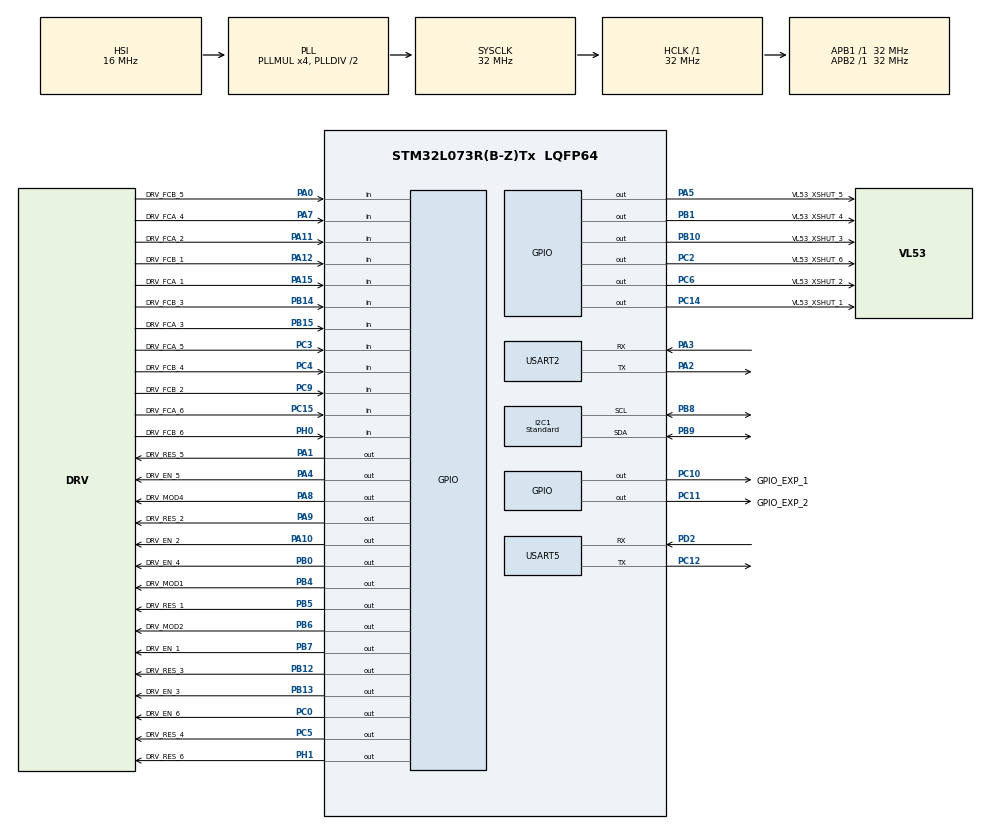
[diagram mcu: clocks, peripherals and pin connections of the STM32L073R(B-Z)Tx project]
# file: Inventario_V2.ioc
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I2C1.I2C_Fall_Time=0
I2C1.I2C_Rise_Time=0
I2C1.I2C_Speed_Mode=I2C_Standard
I2C1.Timing=0x00707CBB
Mcu.Family=STM32L0
Mcu.Name=STM32L073R(B-Z)Tx
Mcu.Package=LQFP64
NVIC.USART4_5_IRQn=true\:0\:0\:false\:false\:true\:true\:true
PA0.GPIO_Label=DRV_FCB_5
PA0.Signal=GPIO_Input
PA1.GPIO_Label=DRV_RES_5
PA1.GPIO_Speed=GPIO_SPEED_FREQ_MEDIUM
PA1.PinState=GPIO_PIN_SET
PA1.Signal=GPIO_Output
PA10.GPIO_Label=DRV_EN_2
PA10.GPIO_Speed=GPIO_SPEED_FREQ_MEDIUM
PA10.PinState=GPIO_PIN_SET
PA10.Signal=GPIO_Output
PA11.GPIO_Label=DRV_FCA_2
PA11.Signal=GPIO_Input
PA12.GPIO_Label=DRV_FCB_1
PA12.Signal=GPIO_Input
PA13.Mode=Serial_Wire
PA13.Signal=SYS_SWDIO
PA14.Mode=Serial_Wire
PA14.Signal=SYS_SWCLK
PA15.GPIO_Label=DRV_FCA_1
PA15.Signal=GPIO_Input
PA2.Mode=Asynchronous
PA2.Signal=USART2_TX
PA3.Mode=Asynchronous
PA3.Signal=USART2_RX
PA4.GPIO_Label=DRV_EN_5
PA4.GPIO_Speed=GPIO_SPEED_FREQ_MEDIUM
PA4.PinState=GPIO_PIN_SET
PA4.Signal=GPIO_Output
PA5.GPIO_Label=VL53_XSHUT_5
PA5.PinState=GPIO_PIN_RESET
PA5.Signal=GPIO_Output
PA7.GPIO_Label=DRV_FCA_4
PA7.Signal=GPIO_Input
PA8.GPIO_Label=DRV_MOD4
PA8.GPIO_Speed=GPIO_SPEED_FREQ_MEDIUM
PA8.Signal=GPIO_Output
PA9.GPIO_Label=DRV_RES_2
PA9.GPIO_Speed=GPIO_SPEED_FREQ_MEDIUM
PA9.PinState=GPIO_PIN_SET
PA9.Signal=GPIO_Output
PB0.GPIO_Label=DRV_EN_4
PB0.GPIO_Speed=GPIO_SPEED_FREQ_MEDIUM
PB0.PinState=GPIO_PIN_SET
PB0.Signal=GPIO_Output
PB1.GPIO_Label=VL53_XSHUT_4
PB1.PinState=GPIO_PIN_RESET
PB1.Signal=GPIO_Output
PB10.GPIO_Label=VL53_XSHUT_3
PB10.PinState=GPIO_PIN_RESET
PB10.Signal=GPIO_Output
PB12.GPIO_Label=DRV_RES_3
PB12.GPIO_Speed=GPIO_SPEED_FREQ_MEDIUM
PB12.PinState=GPIO_PIN_SET
PB12.Signal=GPIO_Output
PB13.GPIO_Label=DRV_EN_3
PB13.GPIO_Speed=GPIO_SPEED_FREQ_MEDIUM
PB13.PinState=GPIO_PIN_SET
PB13.Signal=GPIO_Output
PB14.GPIO_Label=DRV_FCB_3
PB14.Signal=GPIO_Input
PB15.GPIO_Label=DRV_FCA_3
PB15.Signal=GPIO_Input
PB4.GPIO_Label=DRV_MOD1
PB4.GPIO_Speed=GPIO_SPEED_FREQ_MEDIUM
PB4.Signal=GPIO_Output
PB5.GPIO_Label=DRV_RES_1
PB5.GPIO_Speed=GPIO_SPEED_FREQ_MEDIUM
PB5.PinState=GPIO_PIN_SET
PB5.Signal=GPIO_Output
PB6.GPIO_Label=DRV_MOD2
PB6.GPIO_Speed=GPIO_SPEED_FREQ_MEDIUM
PB6.Signal=GPIO_Output
PB7.GPIO_Label=DRV_EN_1
PB7.GPIO_Speed=GPIO_SPEED_FREQ_MEDIUM
PB7.PinState=GPIO_PIN_SET
PB7.Signal=GPIO_Output
PB8.Mode=I2C
PB8.Signal=I2C1_SCL
PB9.Mode=I2C
PB9.Signal=I2C1_SDA
PC0.GPIO_Label=DRV_EN_6
PC0.GPIO_Speed=GPIO_SPEED_FREQ_MEDIUM
PC0.PinState=GPIO_PIN_SET
PC0.Signal=GPIO_Output
PC10.GPIO_Label=GPIO_EXP_1
PC10.Signal=GPIO_Output
PC11.GPIO_Label=GPIO_EXP_2
PC11.Signal=GPIO_Output
PC12.Mode=Asynchronous
PC12.Signal=USART5_TX
PC14-OSC32_IN.GPIO_Label=VL53_XSHUT_1
PC14-OSC32_IN.PinState=GPIO_PIN_RESET
PC14-OSC32_IN.Signal=GPIO_Output
PC15-OSC32_OUT.GPIO_Label=DRV_FCA_6
PC15-OSC32_OUT.Signal=GPIO_Input
PC2.GPIO_Label=VL53_XSHUT_6
PC2.PinState=GPIO_PIN_RESET
PC2.Signal=GPIO_Output
PC3.GPIO_Label=DRV_FCA_5
PC3.Signal=GPIO_Input
PC4.GPIO_Label=DRV_FCB_4
PC4.Signal=GPIO_Input
PC5.GPIO_Label=DRV_RES_4
PC5.GPIO_Speed=GPIO_SPEED_FREQ_MEDIUM
PC5.PinState=GPIO_PIN_SET
PC5.Signal=GPIO_Output
PC6.GPIO_Label=VL53_XSHUT_2
PC6.PinState=GPIO_PIN_SET
PC6.Signal=GPIO_Output
PC9.GPIO_Label=DRV_FCB_2
PC9.Signal=GPIO_Input
PD2.Mode=Asynchronous
PD2.Signal=USART5_RX
PH0-OSC_IN.GPIO_Label=DRV_FCB_6
PH0-OSC_IN.Signal=GPIO_Input
PH1-OSC_OUT.GPIO_Label=DRV_RES_6
PH1-OSC_OUT.GPIO_Speed=GPIO_SPEED_FREQ_MEDIUM
PH1-OSC_OUT.PinState=GPIO_PIN_SET
PH1-OSC_OUT.Signal=GPIO_Output
ProjectManager.HeapSize=0x200
ProjectManager.StackSize=0x400
ProjectManager.TargetToolchain=STM32CubeIDE
RCC.AHBFreq_Value=32000000
RCC.APB1Freq_Value=32000000
RCC.APB1TimFreq_Value=32000000
RCC.APB2Freq_Value=32000000
RCC.APB2TimFreq_Value=32000000
RCC.HCLKFreq_Value=32000000
RCC.HSE_VALUE=8000000
RCC.HSI16_VALUE=16000000
RCC.HSI48_VALUE=48000000
RCC.HSI_VALUE=16000000
RCC.LSE_VALUE=32768
RCC.MSI_VALUE=2097000
RCC.PLLMUL=RCC_PLLMUL_4
RCC.SYSCLKFreq_VALUE=32000000
RCC.SYSCLKSource=RCC_SYSCLKSOURCE_PLLCLK
RCC.VCOOutputFreq_Value=64000000
USART2.VirtualMode-Asynchronous=VM_ASYNC
USART5.VirtualMode-Asynchronous=VM_ASYNC
board=custom

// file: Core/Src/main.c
/* USER CODE BEGIN Header */
/**
 ******************************************************************************
 * @file           : main.c
 * @brief          : Main program body
 ******************************************************************************
 * @attention
 *
 * <h2><center>&copy; Copyright (c) 2020 STMicroelectronics.
 * All rights reserved.</center></h2>
 *
 * This software component is licensed by ST under BSD 3-Clause license,
 * the "License"; You may not use this file except in compliance with the
 * License. You may obtain a copy of the License at:
 *                        opensource.org/licenses/BSD-3-Clause
 *
 ******************************************************************************
 */
/* USER CODE END Header */
#include "main.h"
#include "i2c.h"
#include "usart.h"
#include "gpio.h"

/* USER CODE BEGIN Includes */
#include "distancia.h"
#include "com_ceit.h"
#include "captura.h"
/* USER CODE END Includes */

/* USER CODE BEGIN PTD */
stDistancia stdistancia;
stComCEIT stcomceit;
stCaptura stcaptura;
stMotor stmotor;
/* USER CODE END PTD */

/* USER CODE BEGIN PV */
static volatile uint16_t gLastError;
uint8_t Char_USART5, garb=1, Cont_USART5=0;
uint8_t Data_CALIB_OK[8] = {0x01,0x08,0x11,0x81,0x02,0x4F,0x4B,0xF9};
// España 5 parrillas
//uint8_t DataRX[RX_DATA_SIZE] ={0x5,0x1A,0x41,0x00,0x41,0x00,0x41,0x00,0x41,0x00,0xFF,0xFF,0xFF,0xFF,0xFF,0xFF,0xFF,0xFF,0xFF,0xFF,0xFF,0xFF,
//										0x41,0x00,0x41,0x00,0x41,0x00,0x41,0x00,0xFF,0xFF,0xFF,0xFF,0xFF,0xFF,0xFF,0xFF,0xFF,0xFF,0xFF,0xFF,
//										0x41,0x00,0x41,0x00,0x41,0x00,0x41,0x00,0xFF,0xFF,0xFF,0xFF,0xFF,0xFF,0xFF,0xFF,0xFF,0xFF,0xFF,0xFF,
//										0x41,0x00,0x41,0x00,0x41,0x00,0x41,0x00,0xFF,0xFF,0xFF,0xFF,0xFF,0xFF,0xFF,0xFF,0xFF,0xFF,0xFF,0xFF,
//										0x41,0x00,0x41,0x00,0x41,0x00,0x41,0x00,0xFF,0xFF,0xFF,0xFF,0xFF,0xFF,0xFF,0xFF,0xFF,0xFF,0xFF,0xFF,
//										0xFF,0xFF,0xFF,0xFF,0xFF,0xFF,0xFF,0xFF,0xFF,0xFF,0xFF,0xFF,0xFF,0xFF,0xFF,0xFF,0xFF,0xFF,0xFF,0xFF,
//										0xFF,0xFF,0xFF,0xFF,0xFF,0xFF,0xFF,0xFF,0xFF,0xFF,0xFF,0xFF,0xFF,0xFF,0xFF,0xFF,0xFF,0xFF,0xFF,0xFF,
//										0xFF,0xFF,0xFF,0xFF,0xFF,0xFF,0xFF,0xFF,0xFF,0xFF,0xFF,0xFF,0xFF,0xFF,0xFF,0xFF,0xFF,0xFF,0xFF,0xFF,
//										0xFF,0xFF,0xFF,0xFF,0xFF,0xFF,0xFF,0xFF,0xFF,0xFF,0xFF,0xFF,0xFF,0xFF,0xFF,0xFF,0xFF,0xFF,0xFF,0xFF,
//										0xFF,0xFF,0xFF,0xFF,0xFF,0xFF,0xFF,0xFF,0xFF,0xFF,0xFF,0xFF,0xFF,0xFF,0xFF,0xFF,0xFF,0xFF,0xFF,0xFF,0xFA};

// España 4 parrillas
//uint8_t DataRX[RX_DATA_SIZE] ={0x4,0x1A,0x41,0x00,0x41,0x00,0x41,0x00,0x41,0x00,0xFF,0xFF,0xFF,0xFF,0xFF,0xFF,0xFF,0xFF,0xFF,0xFF,0xFF,0xFF,
//										0x41,0x00,0x41,0x00,0x41,0x00,0x41,0x00,0xFF,0xFF,0xFF,0xFF,0xFF,0xFF,0xFF,0xFF,0xFF,0xFF,0xFF,0xFF,
//										0x41,0x00,0x41,0x00,0x41,0x00,0x41,0x00,0xFF,0xFF,0xFF,0xFF,0xFF,0xFF,0xFF,0xFF,0xFF,0xFF,0xFF,0xFF,
//										0x41,0x00,0x41,0x00,0x41,0x00,0x41,0x00,0xFF,0xFF,0xFF,0xFF,0xFF,0xFF,0xFF,0xFF,0xFF,0xFF,0xFF,0xFF,
//										0xFF,0xFF,0xFF,0xFF,0xFF,0xFF,0xFF,0xFF,0xFF,0xFF,0xFF,0xFF,0xFF,0xFF,0xFF,0xFF,0xFF,0xFF,0xFF,0xFF,
//										0xFF,0xFF,0xFF,0xFF,0xFF,0xFF,0xFF,0xFF,0xFF,0xFF,0xFF,0xFF,0xFF,0xFF,0xFF,0xFF,0xFF,0xFF,0xFF,0xFF,
//										0xFF,0xFF,0xFF,0xFF,0xFF,0xFF,0xFF,0xFF,0xFF,0xFF,0xFF,0xFF,0xFF,0xFF,0xFF,0xFF,0xFF,0xFF,0xFF,0xFF,
//										0xFF,0xFF,0xFF,0xFF,0xFF,0xFF,0xFF,0xFF,0xFF,0xFF,0xFF,0xFF,0xFF,0xFF,0xFF,0xFF,0xFF,0xFF,0xFF,0xFF,
//										0xFF,0xFF,0xFF,0xFF,0xFF,0xFF,0xFF,0xFF,0xFF,0xFF,0xFF,0xFF,0xFF,0xFF,0xFF,0xFF,0xFF,0xFF,0xFF,0xFF,
//										0xFF,0xFF,0xFF,0xFF,0xFF,0xFF,0xFF,0xFF,0xFF,0xFF,0xFF,0xFF,0xFF,0xFF,0xFF,0xFF,0xFF,0xFF,0xFF,0xFF,0xFA};

// Innref todo agua
//uint8_t DataRX[RX_DATA_SIZE] ={0x5,0x22,0x44,0x00,0x44,0x00,0x44,0x00,0x44,0x00,0x44,0x00,0x44,0x00,0x44,0x00,0xFF,0xFF,0xFF,0xFF,0xFF,0xFF,
//										0x44,0x00,0x44,0x00,0x44,0x00,0x44,0x00,0x44,0x00,0x44,0x00,0x44,0x00,0xFF,0xFF,0xFF,0xFF,0xFF,0xFF,
//										0x44,0x00,0x44,0x00,0x44,0x00,0x44,0x00,0x44,0x00,0x44,0x00,0x44,0x00,0xFF,0xFF,0xFF,0xFF,0xFF,0xFF,
//										0x44,0x00,0x44,0x00,0x44,0x00,0x44,0x00,0x44,0x00,0x44,0x00,0x44,0x00,0xFF,0xFF,0xFF,0xFF,0xFF,0xFF,
//										0x44,0x00,0x44,0x00,0x44,0x00,0x44,0x00,0x44,0x00,0x44,0x00,0x44,0x00,0xFF,0xFF,0xFF,0xFF,0xFF,0xFF,
//										0xFF,0xFF,0xFF,0xFF,0xFF,0xFF,0xFF,0xFF,0xFF,0xFF,0xFF,0xFF,0xFF,0xFF,0xFF,0xFF,0xFF,0xFF,0xFF,0xFF,
//										0xFF,0xFF,0xFF,0xFF,0xFF,0xFF,0xFF,0xFF,0xFF,0xFF,0xFF,0xFF,0xFF,0xFF,0xFF,0xFF,0xFF,0xFF,0xFF,0xFF,
//										0xFF,0xFF,0xFF,0xFF,0xFF,0xFF,0xFF,0xFF,0xFF,0xFF,0xFF,0xFF,0xFF,0xFF,0xFF,0xFF,0xFF,0xFF,0xFF,0xFF,
//										0xFF,0xFF,0xFF,0xFF,0xFF,0xFF,0xFF,0xFF,0xFF,0xFF,0xFF,0xFF,0xFF,0xFF,0xFF,0xFF,0xFF,0xFF,0xFF,0xFF,
//										0xFF,0xFF,0xFF,0xFF,0xFF,0xFF,0xFF,0xFF,0xFF,0xFF,0xFF,0xFF,0xFF,0xFF,0xFF,0xFF,0xFF,0xFF,0xFF,0xFF,0xFA};

// Innref todo coca
//uint8_t DataRX[RX_DATA_SIZE] ={0x5,0x22,0x3D,0x00,0x3D,0x00,0x3D,0x00,0x3D,0x00,0x3D,0x00,0x3D,0x00,0x3D,0x00,0x3D,0x00,0xFF,0xFF,0xFF,0xFF,
//										0x3D,0x00,0x3D,0x00,0x3D,0x00,0x3D,0x00,0x3D,0x00,0x3D,0x00,0x3D,0x00,0x3D,0x00,0xFF,0xFF,0xFF,0xFF,
//										0x3D,0x00,0x3D,0x00,0x3D,0x00,0x3D,0x00,0x3D,0x00,0x3D,0x00,0x3D,0x00,0x3D,0x00,0xFF,0xFF,0xFF,0xFF,
//										0x3D,0x00,0x3D,0x00,0x3D,0x00,0x3D,0x00,0x3D,0x00,0x3D,0x00,0x3D,0x00,0x3D,0x00,0xFF,0xFF,0xFF,0xFF,
//										0x3D,0x00,0x3D,0x00,0x3D,0x00,0x3D,0x00,0x3D,0x00,0x3D,0x00,0x3D,0x00,0x3D,0x00,0xFF,0xFF,0xFF,0xFF,
//										0xFF,0xFF,0xFF,0xFF,0xFF,0xFF,0xFF,0xFF,0xFF,0xFF,0xFF,0xFF,0xFF,0xFF,0xFF,0xFF,0xFF,0xFF,0xFF,0xFF,
//										0xFF,0xFF,0xFF,0xFF,0xFF,0xFF,0xFF,0xFF,0xFF,0xFF,0xFF,0xFF,0xFF,0xFF,0xFF,0xFF,0xFF,0xFF,0xFF,0xFF,
//										0xFF,0xFF,0xFF,0xFF,0xFF,0xFF,0xFF,0xFF,0xFF,0xFF,0xFF,0xFF,0xFF,0xFF,0xFF,0xFF,0xFF,0xFF,0xFF,0xFF,
//										0xFF,0xFF,0xFF,0xFF,0xFF,0xFF,0xFF,0xFF,0xFF,0xFF,0xFF,0xFF,0xFF,0xFF,0xFF,0xFF,0xFF,0xFF,0xFF,0xFF,
//										0xFF,0xFF,0xFF,0xFF,0xFF,0xFF,0xFF,0xFF,0xFF,0xFF,0xFF,0xFF,0xFF,0xFF,0xFF,0xFF,0xFF,0xFF,0xFF,0xFF,0xFA};

uint8_t DataRX[RX_DATA_SIZE] ={0x5,0x22,0x3D,0x00,0x3D,0x00,0x3D,0x00,0x3D,0x00,0x3D,0x00,0x3D,0x00,0x3D,0x00,0x3D,0x00,0xFF,0xFF,0xFF,0xFF,
										0x3D,0x00,0x3D,0x00,0x3D,0x00,0x3D,0x00,0x3D,0x00,0x3D,0x00,0x3D,0x00,0x3D,0x00,0xFF,0xFF,0xFF,0xFF,
										0x3D,0x00,0x3D,0x00,0x3D,0x00,0x3D,0x00,0x3D,0x00,0x3D,0x00,0x3D,0x00,0x3D,0x00,0xFF,0xFF,0xFF,0xFF,
										0x35,0x00,0x35,0x00,0x35,0x00,0x35,0x00,0x35,0x00,0x35,0x00,0x35,0x00,0x35,0x00,0x35,0x00,0xFF,0xFF,
										0x44,0x00,0x44,0x00,0x44,0x00,0x44,0x00,0x44,0x00,0x44,0x00,0x44,0x00,0xFF,0xFF,0xFF,0xFF,0xFF,0xFF,
										0xFF,0xFF,0xFF,0xFF,0xFF,0xFF,0xFF,0xFF,0xFF,0xFF,0xFF,0xFF,0xFF,0xFF,0xFF,0xFF,0xFF,0xFF,0xFF,0xFF,
										0xFF,0xFF,0xFF,0xFF,0xFF,0xFF,0xFF,0xFF,0xFF,0xFF,0xFF,0xFF,0xFF,0xFF,0xFF,0xFF,0xFF,0xFF,0xFF,0xFF,
										0xFF,0xFF,0xFF,0xFF,0xFF,0xFF,0xFF,0xFF,0xFF,0xFF,0xFF,0xFF,0xFF,0xFF,0xFF,0xFF,0xFF,0xFF,0xFF,0xFF,
										0xFF,0xFF,0xFF,0xFF,0xFF,0xFF,0xFF,0xFF,0xFF,0xFF,0xFF,0xFF,0xFF,0xFF,0xFF,0xFF,0xFF,0xFF,0xFF,0xFF,
										0xFF,0xFF,0xFF,0xFF,0xFF,0xFF,0xFF,0xFF,0xFF,0xFF,0xFF,0xFF,0xFF,0xFF,0xFF,0xFF,0xFF,0xFF,0xFF,0xFF,0xFA};

/* USER CODE END PV */

void SystemClock_Config(void);
/* USER CODE BEGIN PFP */
static void MyFlagInterruptHandler(void);
void ButtonHandler(void);

/* USER CODE END PFP */

/* USER CODE BEGIN 0 */
//----------Interrupt USART----------------------------------
void HAL_UART_RxCpltCallback(UART_HandleTypeDef *huart) {
//USART CEIT-------------------
	if (huart->Instance == USART5) {
		HAL_UART_Receive_IT(&huart5, &Char_USART5, 1);
		if(garb){
			if(Char_USART5 == 1){
				garb = 0;
				stcomceit.Rx_Buffer[0] = Char_USART5;
				Cont_USART5++;
			}
		}else{
			if (Char_USART5 != 250) {
				if (Cont_USART5 < 5){
					stcomceit.Rx_Buffer[Cont_USART5] = Char_USART5;
					Cont_USART5++;
				}else if (stcomceit.Rx_Buffer[CMD] == GET_DATA) {
					stcomceit.Rx_Buffer[Cont_USART5] = Char_USART5;
					HAL_UART_Transmit(&huart2, stcomceit.Rx_Buffer, sizeof(stcomceit.Rx_Buffer), 1000);
					Cont_USART5 = 0;
					stcomceit.xRxDoneFlag = true;
					garb = 1;
				}else if (stcomceit.Rx_Buffer[CMD] == CONFIG){
					stcomceit.Rx_Data[Cont_USART5-5] = Char_USART5;
					Cont_USART5++;
				}
			}
			else if (Char_USART5 == 250) {
				stcomceit.Rx_Data[Cont_USART5-5] = Char_USART5;
				Cont_USART5 = 0;
				stcomceit.xRxDoneFlag = true;
				garb = 1;
				HAL_UART_Transmit(&huart2, stcomceit.Rx_Buffer, sizeof(stcomceit.Rx_Buffer), 1000);
				HAL_UART_Transmit(&huart2, stcomceit.Rx_Data, sizeof(stcomceit.Rx_Data), 1000);
			}
		}
	}

}

/* USER CODE END 0 */

int main(void)
{
  /* USER CODE BEGIN 1 */
	uint8_t sensorOK, respuesta, data=0,i,j;
  /* USER CODE END 1 */

  /* MCU Configuration--------------------------------------------------------*/

  /* Reset of all peripherals, Initializes the Flash interface and the Systick. */
  HAL_Init();

  /* Configure the system clock */
  SystemClock_Config();

  /* Initialize all configured peripherals */
  MX_GPIO_Init();
  MX_I2C1_Init();
  MX_USART2_UART_Init();
  MX_USART5_UART_Init();
  /* USER CODE BEGIN 2 */
  HAL_UART_Receive_IT(&huart5, &Char_USART5, 1);
  Iniciar_EstrucCaptura(&stcaptura);
  Iniciar_EstrucComCEIT(&stcomceit);
  Iniciar_EstrucDistancia(&stdistancia);
  Iniciar_EstrucMotor(&stmotor);
  for(i=0; i<RX_DATA_SIZE;i++)
  {
	  stcomceit.Rx_Data[i] = DataRX[i];
  }
  ConfigParrillas(&stcaptura, &stcomceit, &stmotor, &stdistancia);
  Ordenar(&stmotor,&stdistancia);
  IniciarSensores(&stdistancia);
  MyMotorInit();

//  calib_motor5();
  calib_motor();
  calib_motor2();
  calib_motor4();
  calib_motor5();
  calib_motor3();

//  calib_motor6();
  EnableMotors(7);
  HAL_UART_Transmit(&huart5, Data_CALIB_OK, 8 , 200);
  HAL_UART_Transmit(&huart2, Data_CALIB_OK, 8 , 200);

  /* USER CODE END 2 */

  /* Infinite loop */
  /* USER CODE BEGIN WHILE */
	while (1) {
//		sensorsTest();

	 /* Código máquinas de estado */
	  BloqueCOM_CEIT(&stcomceit);
	  BloqueCaptura(&stcaptura, &stcomceit, &stmotor, &stdistancia);
	  BloqueMotor();
	  /* Bloque distancia */
	  if(stdistancia.bandDistancia){
		  stdistancia.contParrilla = stdistancia.sensor[stdistancia.contDistancia];
//		  VL53L1_StartMeasurement( &stdistancia.VL53L1_DEV[stdistancia.contParrilla] );
		  sensorOK = BloqueDistancia(&stdistancia);
		  stdistancia.bandDistancia = false;
		  stdistancia.contDistancia++;
	  }
    /* USER CODE END WHILE */

	}
}

void SystemClock_Config(void)
{
  RCC_OscInitTypeDef RCC_OscInitStruct = {0};
  RCC_ClkInitTypeDef RCC_ClkInitStruct = {0};
  RCC_PeriphCLKInitTypeDef PeriphClkInit = {0};

  /** Configure the main internal regulator output voltage
  */
  __HAL_PWR_VOLTAGESCALING_CONFIG(PWR_REGULATOR_VOLTAGE_SCALE1);
  /** Initializes the RCC Oscillators according to the specified parameters
  * in the RCC_OscInitTypeDef structure.
  */
  RCC_OscInitStruct.OscillatorType = RCC_OSCILLATORTYPE_HSI;
  RCC_OscInitStruct.HSIState = RCC_HSI_ON;
  RCC_OscInitStruct.HSICalibrationValue = RCC_HSICALIBRATION_DEFAULT;
  RCC_OscInitStruct.PLL.PLLState = RCC_PLL_ON;
  RCC_OscInitStruct.PLL.PLLSource = RCC_PLLSOURCE_HSI;
  RCC_OscInitStruct.PLL.PLLMUL = RCC_PLLMUL_4;
  RCC_OscInitStruct.PLL.PLLDIV = RCC_PLLDIV_2;
  if (HAL_RCC_OscConfig(&RCC_OscInitStruct) != HAL_OK)
  {
    Error_Handler();
  }
  /** Initializes the CPU, AHB and APB buses clocks
  */
  RCC_ClkInitStruct.ClockType = RCC_CLOCKTYPE_HCLK|RCC_CLOCKTYPE_SYSCLK
                              |RCC_CLOCKTYPE_PCLK1|RCC_CLOCKTYPE_PCLK2;
  RCC_ClkInitStruct.SYSCLKSource = RCC_SYSCLKSOURCE_PLLCLK;
  RCC_ClkInitStruct.AHBCLKDivider = RCC_SYSCLK_DIV1;
  RCC_ClkInitStruct.APB1CLKDivider = RCC_HCLK_DIV1;
  RCC_ClkInitStruct.APB2CLKDivider = RCC_HCLK_DIV1;

  if (HAL_RCC_ClockConfig(&RCC_ClkInitStruct, FLASH_LATENCY_1) != HAL_OK)
  {
    Error_Handler();
  }
  PeriphClkInit.PeriphClockSelection = RCC_PERIPHCLK_USART2|RCC_PERIPHCLK_I2C1;
  PeriphClkInit.Usart2ClockSelection = RCC_USART2CLKSOURCE_PCLK1;
  PeriphClkInit.I2c1ClockSelection = RCC_I2C1CLKSOURCE_PCLK1;
  if (HAL_RCCEx_PeriphCLKConfig(&PeriphClkInit) != HAL_OK)
  {
    Error_Handler();
  }
}

/* USER CODE BEGIN 4 */

void BloqueMotor(void) {
	uint8_t unidad, decena, centena, mil;
	uint8_t i,j,k,aux;

	/* Bloque motor */
	if(stmotor.bandMotor){
		if(stmotor.posMotor < stmotor.MaxPosMotor){
			/* Go next stop */
			BSP_MotorControl_GoTo(MOTOR_ID, stmotor.recorrido[stmotor.posMotor]);
			BSP_MotorControl_WaitWhileActive(MOTOR_ID);

			stmotor.posMotor++;
			stmotor.bandMotor = false;
		}else if(stmotor.posMotor <= stmotor.MaxPosMotor+2){
			stmotor.bandMotor = true;
			stmotor.posMotor++;
		} else {
			/* GO HOME */
			BSP_MotorControl_GoTo(MOTOR_ID, stmotor.recorrido[0]);
			BSP_MotorControl_WaitWhileActive(MOTOR_ID);
			/* Disable the power bridges */
			BSP_MotorControl_CmdDisable(MOTOR_ID);
			/* Turn off power bridges when motor is stopped */
			BSP_MotorControl_SetStopMode(MOTOR_ID, HIZ_MODE);
			stmotor.posMotor = stmotor.posInicial;
			stmotor.bandMotor = false;

//			HAL_UART_Transmit(&huart5, (uint8_t*)"\n", strlen("\n"), 20);
//			for(i=1; i<6; i++)
//			{
//				aux = i+48;
//				HAL_UART_Transmit(&huart5, (uint8_t*)"S", strlen("S"), 20);
//				HAL_UART_Transmit(&huart5, &aux, sizeof(aux), 20);
//				HAL_UART_Transmit(&huart5, (uint8_t*)";", strlen(";"), 20);
//				for(j=0; j<stdistancia.cantFilas[i-1]; j++)
//				{
//					  Convertir4Cif(stdistancia.datosDistancia[i-1][j], &mil, &centena, &decena, &unidad);
//					  HAL_UART_Transmit(&huart5, &mil, sizeof(centena), 50);
//					  HAL_UART_Transmit(&huart5, &centena, sizeof(centena), 50);
//					  HAL_UART_Transmit(&huart5, &decena, sizeof(decena), 50);
//					  HAL_UART_Transmit(&huart5, &unidad, sizeof(unidad), 50);
//					  HAL_UART_Transmit(&huart5, (uint8_t*)";", strlen(";"), 20);
//				}
//				HAL_UART_Transmit(&huart5, (uint8_t*)"\n", strlen("\n"), 20);
//			}

//			for(i=1; i<6; i++){
//				HAL_UART_Transmit(&huart2, (uint8_t*)"S", strlen("S"), 20);
//				HAL_UART_Transmit(&huart2, &i, sizeof(i), 50);
//				HAL_UART_Transmit(&huart2, (uint8_t*)"X", strlen("S"), 20);
//				HAL_UART_Transmit(&huart2, (uint8_t*)";", strlen(";"), 20);
//				for(j=0; j<stdistancia.cantFilas[i-1]; j++){
//					  Convertir4Cif(stdistancia.datosDistancia[i-1][j], &mil, &centena, &decena, &unidad);
//					  HAL_UART_Transmit(&huart2, &mil, sizeof(centena), 50);
//					  HAL_UART_Transmit(&huart2, &centena, sizeof(centena), 50);
//					  HAL_UART_Transmit(&huart2, &decena, sizeof(decena), 50);
//					  HAL_UART_Transmit(&huart2, &unidad, sizeof(unidad), 50);
//					  HAL_UART_Transmit(&huart2, (uint8_t*)";", strlen(";"), 20);
//				}
//				HAL_UART_Transmit(&huart2, (uint8_t*)"\n", strlen("\n"), 20);
//			}

			for(k=0; k<5; k++)
			{
				HAL_UART_Transmit(&huart5, (uint8_t*)"\n", strlen("\n"), 20);
				for(i=1; i<6; i++)
				{
					aux = i+48;
					HAL_UART_Transmit(&huart5, (uint8_t*)"S", strlen("S"), 20);
					HAL_UART_Transmit(&huart5, &aux, sizeof(aux), 20);
					HAL_UART_Transmit(&huart5, (uint8_t*)";", strlen(";"), 20);
					for(j=0; j<stdistancia.cantFilas[i-1]; j++)
					{
						  Convertir4Cif(stdistancia.datosDistancia2[i-1][j][k], &mil, &centena, &decena, &unidad);
						  HAL_UART_Transmit(&huart5, &mil, sizeof(centena), 50);
						  HAL_UART_Transmit(&huart5, &centena, sizeof(centena), 50);
						  HAL_UART_Transmit(&huart5, &decena, sizeof(decena), 50);
						  HAL_UART_Transmit(&huart5, &unidad, sizeof(unidad), 50);
						  HAL_UART_Transmit(&huart5, (uint8_t*)";", strlen(";"), 20);
					}
					HAL_UART_Transmit(&huart5, (uint8_t*)"\n", strlen("\n"), 20);
				}
			}

			for(k=0; k<5; k++)
			{
				HAL_UART_Transmit(&huart2, (uint8_t*)"\n", strlen("\n"), 20);
				for(i=1; i<6; i++)
				{
					aux = i+48;
					HAL_UART_Transmit(&huart2, (uint8_t*)"S", strlen("S"), 20);
					HAL_UART_Transmit(&huart2, &aux, sizeof(aux), 20);
					HAL_UART_Transmit(&huart2, (uint8_t*)";", strlen(";"), 20);
					for(j=0; j<stdistancia.cantFilas[i-1]; j++)
					{
						  Convertir4Cif(stdistancia.datosDistancia2[i-1][j][k], &mil, &centena, &decena, &unidad);
						  HAL_UART_Transmit(&huart2, &mil, sizeof(centena), 50);
						  HAL_UART_Transmit(&huart2, &centena, sizeof(centena), 50);
						  HAL_UART_Transmit(&huart2, &decena, sizeof(decena), 50);
						  HAL_UART_Transmit(&huart2, &unidad, sizeof(unidad), 50);
						  HAL_UART_Transmit(&huart2, (uint8_t*)";", strlen(";"), 20);
					}
					HAL_UART_Transmit(&huart2, (uint8_t*)"\n", strlen("\n"), 20);
				}
			}

	//				  calib_motor5();
			  calib_motor();
			  calib_motor2();
			  calib_motor4();
			  calib_motor5();
			  calib_motor3();
			//  calib_motor6();
			  EnableMotors(7);
			  HAL_UART_Transmit(&huart5, Data_CALIB_OK, 8 , 200);
			  HAL_UART_Transmit(&huart2, Data_CALIB_OK, 8 , 200);
		}
	}
}

void MyMotorInit(void) {

	uint32_t myFreqPwm;
//----- Init of the Motor control library
	/* Set the STSPIN220 library to use 1 device */
	BSP_MotorControl_SetNbDevices(BSP_MOTOR_CONTROL_BOARD_ID_STSPIN220, 1);
	/* When BSP_MotorControl_Init is called with NULL pointer,                  */
	/* the STSPIN220 parameters are set with the predefined values from file    */
	/* stspin220_target_config.h, otherwise the parameters are set using the    */
	/* initDeviceParameters structure values.                                   */
	//BSP_MotorControl_Init(BSP_MOTOR_CONTROL_BOARD_ID_STSPIN220, &initDeviceParameters);
	BSP_MotorControl_Init(BSP_MOTOR_CONTROL_BOARD_ID_STSPIN220, NULL);
	/* Attach the function MyFlagInterruptHandler (defined below) to the flag interrupt */
	BSP_MotorControl_AttachFlagInterrupt(MyFlagInterruptHandler);
	/* Attach the function MyErrorHandler (defined below) to the error Handler*/
	BSP_MotorControl_AttachErrorHandler(MyErrorHandler);
//----- Configure Button for user interaction
	/* Set Systick Interrupt priority highest to ensure no lock by using HAL_Delay */
	HAL_NVIC_SetPriority(SysTick_IRQn, 0x0, 0x0);
	/* Get the PWM frequency used for the VREFA and VREFB voltage generation */
	myFreqPwm = BSP_MotorControl_GetBridgeInputPwmFreq(0);

	/* Select step mode */
	switch (AJUSTE_REL_PASOS){
	case 1:
		/* Increase acceleration microstep/s^2*/
		BSP_MotorControl_SetAcceleration(MOTOR_ID, 65535);
		/* Increase deceleration microstep/s^2 */
		BSP_MotorControl_SetDeceleration(MOTOR_ID, 65535);
		/* Increase speed microstep/s */
		BSP_MotorControl_SetMaxSpeed(MOTOR_ID, 25000);//25000
		break;
	case 2:
		BSP_MotorControl_SelectStepMode(MOTOR_ID, STEP_MODE_1_16);
		/*Increase the Run and accelerating torque */
		BSP_MotorControl_SetTorque(0, RUN_TORQUE, 40);
		BSP_MotorControl_SetTorque(0, ACC_TORQUE, 90);
		/* Increase acceleration microstep/s^2 */
		BSP_MotorControl_SetAcceleration(MOTOR_ID, 65535);
		/* Increase deceleration microstep/s^2 */
		BSP_MotorControl_SetDeceleration(MOTOR_ID, 65535);
		/* Increase speed to microstep/s */
		BSP_MotorControl_SetMaxSpeed(MOTOR_ID, 15000);
		break;
	case 4:
		BSP_MotorControl_SelectStepMode(MOTOR_ID, STEP_MODE_1_8);
		/*Increase the Run and accelerating torque */
		BSP_MotorControl_SetTorque(0, RUN_TORQUE, 40);
		BSP_MotorControl_SetTorque(0, ACC_TORQUE, 60);
		/* Increase acceleration microstep/s^2 */
		BSP_MotorControl_SetAcceleration(MOTOR_ID, 65535);
		/* Increase deceleration microstep/s^2 */
		BSP_MotorControl_SetDeceleration(MOTOR_ID, 65535);
		/* Increase speed microstep/s */
		BSP_MotorControl_SetMaxSpeed(MOTOR_ID, 7600);
		break;
	case 8:
		BSP_MotorControl_SelectStepMode(MOTOR_ID, STEP_MODE_1_4);
		/* Increase the Run and accelerating torque */
		BSP_MotorControl_SetTorque(0, RUN_TORQUE, 80);
		BSP_MotorControl_SetTorque(0, ACC_TORQUE, 80);
		/* Increase acceleration microstep/s^2 */
		BSP_MotorControl_SetAcceleration(MOTOR_ID, 65535);
		/* Increase deceleration microstep/s^2 */
		BSP_MotorControl_SetDeceleration(MOTOR_ID, 65535);
		/* Increase speed microstep/s */
		BSP_MotorControl_SetMaxSpeed(MOTOR_ID, 31000);
		break;
	default:
		/* Increase acceleration microstep/s^2 */
		BSP_MotorControl_SetAcceleration(MOTOR_ID, 65535);
		/* Increase deceleration microstep/s^2 */
		BSP_MotorControl_SetDeceleration(MOTOR_ID, 65535);
		/* Increase speed microstep/s */
		BSP_MotorControl_SetMaxSpeed(MOTOR_ID, 25000);
		break;
	}
}

void EnableMotors(uint8_t opc)
{
	switch(opc)
	{
		case 1:
			HAL_GPIO_WritePin(DRV_EN_1_GPIO_Port, DRV_EN_1_Pin, GPIO_PIN_SET);
//			HAL_GPIO_WritePin(DRV_RES_1_GPIO_Port, DRV_RES_1_Pin, GPIO_PIN_SET);
			HAL_GPIO_WritePin(DRV_EN_2_GPIO_Port, DRV_EN_2_Pin, GPIO_PIN_RESET);
//			HAL_GPIO_WritePin(DRV_RES_2_GPIO_Port, DRV_RES_2_Pin, GPIO_PIN_RESET);
			HAL_GPIO_WritePin(DRV_EN_3_GPIO_Port, DRV_EN_3_Pin, GPIO_PIN_RESET);
//			HAL_GPIO_WritePin(DRV_RES_3_GPIO_Port, DRV_RES_3_Pin, GPIO_PIN_RESET);
			HAL_GPIO_WritePin(DRV_EN_4_GPIO_Port, DRV_EN_4_Pin, GPIO_PIN_RESET);
//			HAL_GPIO_WritePin(DRV_RES_4_GPIO_Port, DRV_RES_4_Pin, GPIO_PIN_RESET);
			HAL_GPIO_WritePin(DRV_EN_5_GPIO_Port, DRV_EN_5_Pin, GPIO_PIN_RESET);
			HAL_GPIO_WritePin(DRV_RES_5_GPIO_Port, DRV_RES_5_Pin, GPIO_PIN_RESET);
			HAL_GPIO_WritePin(DRV_EN_6_GPIO_Port, DRV_EN_6_Pin, GPIO_PIN_RESET);
//			HAL_GPIO_WritePin(DRV_RES_6_GPIO_Port, DRV_RES_6_Pin, GPIO_PIN_RESET);
			break;
		case 2:
			HAL_GPIO_WritePin(DRV_EN_1_GPIO_Port, DRV_EN_1_Pin, GPIO_PIN_RESET);
//			HAL_GPIO_WritePin(DRV_RES_1_GPIO_Port, DRV_RES_1_Pin, GPIO_PIN_RESET);
			HAL_GPIO_WritePin(DRV_EN_2_GPIO_Port, DRV_EN_2_Pin, GPIO_PIN_SET);
//			HAL_GPIO_WritePin(DRV_RES_2_GPIO_Port, DRV_RES_2_Pin, GPIO_PIN_SET);
			HAL_GPIO_WritePin(DRV_EN_3_GPIO_Port, DRV_EN_3_Pin, GPIO_PIN_RESET);
//			HAL_GPIO_WritePin(DRV_RES_3_GPIO_Port, DRV_RES_3_Pin, GPIO_PIN_RESET);
			HAL_GPIO_WritePin(DRV_EN_4_GPIO_Port, DRV_EN_4_Pin, GPIO_PIN_RESET);
//			HAL_GPIO_WritePin(DRV_RES_4_GPIO_Port, DRV_RES_4_Pin, GPIO_PIN_RESET);
			HAL_GPIO_WritePin(DRV_EN_5_GPIO_Port, DRV_EN_5_Pin, GPIO_PIN_RESET);
			HAL_GPIO_WritePin(DRV_RES_5_GPIO_Port, DRV_RES_5_Pin, GPIO_PIN_RESET);
			HAL_GPIO_WritePin(DRV_EN_6_GPIO_Port, DRV_EN_6_Pin, GPIO_PIN_RESET);
//			HAL_GPIO_WritePin(DRV_RES_6_GPIO_Port, DRV_RES_6_Pin, GPIO_PIN_RESET);
			break;
		case 3:
			HAL_GPIO_WritePin(DRV_EN_1_GPIO_Port, DRV_EN_1_Pin, GPIO_PIN_RESET);
//			HAL_GPIO_WritePin(DRV_RES_1_GPIO_Port, DRV_RES_1_Pin, GPIO_PIN_RESET);
			HAL_GPIO_WritePin(DRV_EN_2_GPIO_Port, DRV_EN_2_Pin, GPIO_PIN_RESET);
//			HAL_GPIO_WritePin(DRV_RES_2_GPIO_Port, DRV_RES_2_Pin, GPIO_PIN_RESET);
			HAL_GPIO_WritePin(DRV_EN_3_GPIO_Port, DRV_EN_3_Pin, GPIO_PIN_SET);
//			HAL_GPIO_WritePin(DRV_RES_3_GPIO_Port, DRV_RES_3_Pin, GPIO_PIN_SET);
			HAL_GPIO_WritePin(DRV_EN_4_GPIO_Port, DRV_EN_4_Pin, GPIO_PIN_RESET);
//			HAL_GPIO_WritePin(DRV_RES_4_GPIO_Port, DRV_RES_4_Pin, GPIO_PIN_RESET);
			HAL_GPIO_WritePin(DRV_EN_5_GPIO_Port, DRV_EN_5_Pin, GPIO_PIN_RESET);
			HAL_GPIO_WritePin(DRV_RES_5_GPIO_Port, DRV_RES_5_Pin, GPIO_PIN_RESET);
			HAL_GPIO_WritePin(DRV_EN_6_GPIO_Port, DRV_EN_6_Pin, GPIO_PIN_RESET);
//			HAL_GPIO_WritePin(DRV_RES_6_GPIO_Port, DRV_RES_6_Pin, GPIO_PIN_RESET);
			break;
		case 4:
			HAL_GPIO_WritePin(DRV_EN_1_GPIO_Port, DRV_EN_1_Pin, GPIO_PIN_RESET);
//			HAL_GPIO_WritePin(DRV_RES_1_GPIO_Port, DRV_RES_1_Pin, GPIO_PIN_RESET);
			HAL_GPIO_WritePin(DRV_EN_2_GPIO_Port, DRV_EN_2_Pin, GPIO_PIN_RESET);
//			HAL_GPIO_WritePin(DRV_RES_2_GPIO_Port, DRV_RES_2_Pin, GPIO_PIN_RESET);
			HAL_GPIO_WritePin(DRV_EN_3_GPIO_Port, DRV_EN_3_Pin, GPIO_PIN_RESET);
//			HAL_GPIO_WritePin(DRV_RES_3_GPIO_Port, DRV_RES_3_Pin, GPIO_PIN_RESET);
			HAL_GPIO_WritePin(DRV_EN_4_GPIO_Port, DRV_EN_4_Pin, GPIO_PIN_SET);
//			HAL_GPIO_WritePin(DRV_RES_4_GPIO_Port, DRV_RES_4_Pin, GPIO_PIN_SET);
			HAL_GPIO_WritePin(DRV_EN_5_GPIO_Port, DRV_EN_5_Pin, GPIO_PIN_RESET);
			HAL_GPIO_WritePin(DRV_RES_5_GPIO_Port, DRV_RES_5_Pin, GPIO_PIN_RESET);
			HAL_GPIO_WritePin(DRV_EN_6_GPIO_Port, DRV_EN_6_Pin, GPIO_PIN_RESET);
//			HAL_GPIO_WritePin(DRV_RES_6_GPIO_Port, DRV_RES_6_Pin, GPIO_PIN_RESET);
			break;
		case 5:
			HAL_GPIO_WritePin(DRV_EN_1_GPIO_Port, DRV_EN_1_Pin, GPIO_PIN_RESET);
//			HAL_GPIO_WritePin(DRV_RES_1_GPIO_Port, DRV_RES_1_Pin, GPIO_PIN_RESET);
			HAL_GPIO_WritePin(DRV_EN_2_GPIO_Port, DRV_EN_2_Pin, GPIO_PIN_RESET);
//			HAL_GPIO_WritePin(DRV_RES_2_GPIO_Port, DRV_RES_2_Pin, GPIO_PIN_RESET);
			HAL_GPIO_WritePin(DRV_EN_3_GPIO_Port, DRV_EN_3_Pin, GPIO_PIN_RESET);
//			HAL_GPIO_WritePin(DRV_RES_3_GPIO_Port, DRV_RES_3_Pin, GPIO_PIN_RESET);
			HAL_GPIO_WritePin(DRV_EN_4_GPIO_Port, DRV_EN_4_Pin, GPIO_PIN_RESET);
//			HAL_GPIO_WritePin(DRV_RES_4_GPIO_Port, DRV_RES_4_Pin, GPIO_PIN_RESET);
			HAL_GPIO_WritePin(DRV_EN_5_GPIO_Port, DRV_EN_5_Pin, GPIO_PIN_SET);
			HAL_GPIO_WritePin(DRV_RES_5_GPIO_Port, DRV_RES_5_Pin, GPIO_PIN_SET);
			HAL_GPIO_WritePin(DRV_EN_6_GPIO_Port, DRV_EN_6_Pin, GPIO_PIN_RESET);
//			HAL_GPIO_WritePin(DRV_RES_6_GPIO_Port, DRV_RES_6_Pin, GPIO_PIN_RESET);
			break;
		case 6:
			HAL_GPIO_WritePin(DRV_EN_1_GPIO_Port, DRV_EN_1_Pin, GPIO_PIN_RESET);
//			HAL_GPIO_WritePin(DRV_RES_1_GPIO_Port, DRV_RES_1_Pin, GPIO_PIN_RESET);
			HAL_GPIO_WritePin(DRV_EN_2_GPIO_Port, DRV_EN_2_Pin, GPIO_PIN_RESET);
//			HAL_GPIO_WritePin(DRV_RES_2_GPIO_Port, DRV_RES_2_Pin, GPIO_PIN_RESET);
			HAL_GPIO_WritePin(DRV_EN_3_GPIO_Port, DRV_EN_3_Pin, GPIO_PIN_RESET);
//			HAL_GPIO_WritePin(DRV_RES_3_GPIO_Port, DRV_RES_3_Pin, GPIO_PIN_RESET);
			HAL_GPIO_WritePin(DRV_EN_4_GPIO_Port, DRV_EN_4_Pin, GPIO_PIN_RESET);
//			HAL_GPIO_WritePin(DRV_RES_4_GPIO_Port, DRV_RES_4_Pin, GPIO_PIN_RESET);
			HAL_GPIO_WritePin(DRV_EN_5_GPIO_Port, DRV_EN_5_Pin, GPIO_PIN_RESET);
			HAL_GPIO_WritePin(DRV_RES_5_GPIO_Port, DRV_RES_5_Pin, GPIO_PIN_RESET);
			HAL_GPIO_WritePin(DRV_EN_6_GPIO_Port, DRV_EN_6_Pin, GPIO_PIN_SET);
//			HAL_GPIO_WritePin(DRV_RES_6_GPIO_Port, DRV_RES_6_Pin, GPIO_PIN_SET);
			break;
		case 7:
			HAL_GPIO_WritePin(DRV_EN_1_GPIO_Port, DRV_EN_1_Pin, GPIO_PIN_SET);
//			HAL_GPIO_WritePin(DRV_RES_1_GPIO_Port, DRV_RES_1_Pin, GPIO_PIN_SET);
			HAL_GPIO_WritePin(DRV_EN_2_GPIO_Port, DRV_EN_2_Pin, GPIO_PIN_SET);
//			HAL_GPIO_WritePin(DRV_RES_2_GPIO_Port, DRV_RES_2_Pin, GPIO_PIN_SET);
			HAL_GPIO_WritePin(DRV_EN_3_GPIO_Port, DRV_EN_3_Pin, GPIO_PIN_SET);
//			HAL_GPIO_WritePin(DRV_RES_3_GPIO_Port, DRV_RES_3_Pin, GPIO_PIN_SET);
			HAL_GPIO_WritePin(DRV_EN_4_GPIO_Port, DRV_EN_4_Pin, GPIO_PIN_SET);
//			HAL_GPIO_WritePin(DRV_RES_4_GPIO_Port, DRV_RES_4_Pin, GPIO_PIN_SET);
			HAL_GPIO_WritePin(DRV_EN_5_GPIO_Port, DRV_EN_5_Pin, GPIO_PIN_SET);
			HAL_GPIO_WritePin(DRV_RES_5_GPIO_Port, DRV_RES_5_Pin, GPIO_PIN_SET);
			HAL_GPIO_WritePin(DRV_EN_6_GPIO_Port, DRV_EN_6_Pin, GPIO_PIN_SET);
//			HAL_GPIO_WritePin(DRV_RES_6_GPIO_Port, DRV_RES_6_Pin, GPIO_PIN_SET);
			break;
		default:
			HAL_GPIO_WritePin(DRV_EN_1_GPIO_Port, DRV_EN_1_Pin, GPIO_PIN_RESET);
			HAL_GPIO_WritePin(DRV_RES_1_GPIO_Port, DRV_RES_1_Pin, GPIO_PIN_RESET);
			HAL_GPIO_WritePin(DRV_EN_2_GPIO_Port, DRV_EN_2_Pin, GPIO_PIN_RESET);
			HAL_GPIO_WritePin(DRV_RES_2_GPIO_Port, DRV_RES_2_Pin, GPIO_PIN_RESET);
			HAL_GPIO_WritePin(DRV_EN_3_GPIO_Port, DRV_EN_3_Pin, GPIO_PIN_RESET);
			HAL_GPIO_WritePin(DRV_RES_3_GPIO_Port, DRV_RES_3_Pin, GPIO_PIN_RESET);
			HAL_GPIO_WritePin(DRV_EN_4_GPIO_Port, DRV_EN_4_Pin, GPIO_PIN_RESET);
			HAL_GPIO_WritePin(DRV_RES_4_GPIO_Port, DRV_RES_4_Pin, GPIO_PIN_RESET);
			HAL_GPIO_WritePin(DRV_EN_5_GPIO_Port, DRV_EN_5_Pin, GPIO_PIN_RESET);
			HAL_GPIO_WritePin(DRV_RES_5_GPIO_Port, DRV_RES_5_Pin, GPIO_PIN_RESET);
			HAL_GPIO_WritePin(DRV_EN_6_GPIO_Port, DRV_EN_6_Pin, GPIO_PIN_RESET);
			HAL_GPIO_WritePin(DRV_RES_6_GPIO_Port, DRV_RES_6_Pin, GPIO_PIN_RESET);
			break;
	}
}

void calib_motor(void) {
	int32_t pos;

	EnableMotors(1);
	//-----Set Home position according FCA
	if (HAL_GPIO_ReadPin(DRV_FCA_1_GPIO_Port, DRV_FCA_1_Pin) == GPIO_PIN_SET) {
		//-----Move device BACKWARD till get far from FC1
		do {
			BSP_MotorControl_Run(MOTOR_ID, BACKWARD);
			HAL_Delay(T_FC);
		} while (HAL_GPIO_ReadPin(DRV_FCA_1_GPIO_Port, DRV_FCA_1_Pin) == GPIO_PIN_SET);

		stopMotor();

	} else {
		//-----Move device FORWARD till get to FC1
		do {
			BSP_MotorControl_Run(MOTOR_ID, FORWARD);
			HAL_Delay(T_FC);
		} while (HAL_GPIO_ReadPin(DRV_FCA_1_GPIO_Port, DRV_FCA_1_Pin)== GPIO_PIN_RESET);

		//-----Move device BACKWARD till get far from FC1
		do {
			BSP_MotorControl_Run(MOTOR_ID, BACKWARD);
			HAL_Delay(T_FC);
		} while (HAL_GPIO_ReadPin(DRV_FCA_1_GPIO_Port, DRV_FCA_1_Pin) == GPIO_PIN_SET);
	}
	if(AJUSTE_INICIAL>=0) {
		BSP_MotorControl_Move(MOTOR_ID, BACKWARD, STEP_1MM *AJUSTE_INICIAL);
	}else {
		BSP_MotorControl_Move(MOTOR_ID, FORWARD, STEP_1MM *-AJUSTE_INICIAL);
	}
	BSP_MotorControl_WaitWhileActive(MOTOR_ID);
	if(AJUSTE_INICIAL_M1>=0) {
		BSP_MotorControl_Move(MOTOR_ID, BACKWARD, STEP_1MM *AJUSTE_INICIAL_M1);
	}else {
		BSP_MotorControl_Move(MOTOR_ID, FORWARD, STEP_1MM *-AJUSTE_INICIAL_M1);
	}
	BSP_MotorControl_WaitWhileActive(MOTOR_ID);
	stopMotor();
	/* Get current position */
	pos = BSP_MotorControl_GetPosition(MOTOR_ID);
	/* Set the current position to be the Home position */
	BSP_MotorControl_SetHome(MOTOR_ID, pos);
	HAL_Delay(T_STOP);
	if(CALIB)
	{
	//-----Move device BACKWARD till found FC2 and mark the position
		BSP_MotorControl_Move(MOTOR_ID, BACKWARD, 7889 * 45/AJUSTE_REL_PASOS);
		BSP_MotorControl_WaitWhileActive(MOTOR_ID);
		do {
			BSP_MotorControl_Run(MOTOR_ID, BACKWARD);
			HAL_Delay(T_FC);
		} while (HAL_GPIO_ReadPin(DRV_FCB_1_GPIO_Port, DRV_FCB_1_Pin) == GPIO_PIN_RESET);

		stopMotor();
		/* Get current position */
		pos = BSP_MotorControl_GetPosition(MOTOR_ID);
		/* Set the current position to be the Home position */
		BSP_MotorControl_SetMark(MOTOR_ID, pos);
	//----- Go Home
		/* Request to go to Home */
		BSP_MotorControl_GoHome(MOTOR_ID);
		BSP_MotorControl_WaitWhileActive(MOTOR_ID);
		/* Get current position */
		pos = BSP_MotorControl_GetPosition(MOTOR_ID);
		stopMotor();
	}
}

void calib_motor2(void) {
	int32_t pos;

	EnableMotors(2);
	//-----Set Home position according FC1
	if (HAL_GPIO_ReadPin(DRV_FCA_2_GPIO_Port, DRV_FCA_2_Pin) == GPIO_PIN_SET) {
		//-----Move device BACKWARD till get far from FC1
		do {
			BSP_MotorControl_Run(MOTOR_ID, BACKWARD);
			HAL_Delay(T_FC);
		} while (HAL_GPIO_ReadPin(DRV_FCA_2_GPIO_Port, DRV_FCA_2_Pin) == GPIO_PIN_SET);

		stopMotor();

	} else {
		//-----Move device FORWARD till get to FC1
		do {
			BSP_MotorControl_Run(MOTOR_ID, FORWARD);
			HAL_Delay(T_FC);
		} while (HAL_GPIO_ReadPin(DRV_FCA_2_GPIO_Port, DRV_FCA_2_Pin)== GPIO_PIN_RESET);

		//-----Move device BACKWARD till get far from FC1
		do {
			BSP_MotorControl_Run(MOTOR_ID, BACKWARD);
			HAL_Delay(T_FC);
		} while (HAL_GPIO_ReadPin(DRV_FCA_2_GPIO_Port, DRV_FCA_2_Pin)
				== GPIO_PIN_SET);
	}
	if(AJUSTE_INICIAL>=0)
	{
		BSP_MotorControl_Move(MOTOR_ID, BACKWARD, STEP_1MM *AJUSTE_INICIAL);
	}else
	{
		BSP_MotorControl_Move(MOTOR_ID, FORWARD, STEP_1MM *-AJUSTE_INICIAL);
	}
	BSP_MotorControl_WaitWhileActive(MOTOR_ID);
	if(AJUSTE_INICIAL_M2>=0) {
		BSP_MotorControl_Move(MOTOR_ID, BACKWARD, STEP_1MM *AJUSTE_INICIAL_M2);
	}else {
		BSP_MotorControl_Move(MOTOR_ID, FORWARD, STEP_1MM *-AJUSTE_INICIAL_M2);
	}
	BSP_MotorControl_WaitWhileActive(MOTOR_ID);
//	BSP_MotorControl_Move(MOTOR_ID, FORWARD, STEP_1MM *5);

	stopMotor();
	/* Get current position */
	pos = BSP_MotorControl_GetPosition(MOTOR_ID);
	/* Set the current position to be the Home position */
	BSP_MotorControl_SetHome(MOTOR_ID, pos);

	HAL_Delay(T_STOP);

	if(CALIB)
	{
	//-----Move device BACKWARD till found FC2 and mark the position
		BSP_MotorControl_Move(MOTOR_ID, BACKWARD, 7889 * 45/AJUSTE_REL_PASOS);
		BSP_MotorControl_WaitWhileActive(MOTOR_ID);
		do {
			BSP_MotorControl_Run(MOTOR_ID, BACKWARD);
			HAL_Delay(T_FC);
		} while (HAL_GPIO_ReadPin(DRV_FCB_2_GPIO_Port, DRV_FCB_2_Pin) == GPIO_PIN_RESET);
		stopMotor();

		/* Get current position */
		pos = BSP_MotorControl_GetPosition(MOTOR_ID);

		/* Set the current position to be the Home position */
		BSP_MotorControl_SetMark(MOTOR_ID, pos);

	//----- Go Home
		/* Request to go to Home */
		BSP_MotorControl_GoHome(MOTOR_ID);
		BSP_MotorControl_WaitWhileActive(MOTOR_ID);

		/* Get current position */
		pos = BSP_MotorControl_GetPosition(MOTOR_ID);

		stopMotor();
	}
}

void calib_motor3(void) {
	int32_t pos;

	EnableMotors(3);
////-------------------------------------------------------------------------------------------------
	//-----Set Home position according FC1
	if (HAL_GPIO_ReadPin(DRV_FCA_3_GPIO_Port, DRV_FCA_3_Pin) == GPIO_PIN_SET) {
//-----Move device BACKWARD till get far from FC1
		do {
			BSP_MotorControl_Run(MOTOR_ID, BACKWARD);
			HAL_Delay(T_FC);
		} while (HAL_GPIO_ReadPin(DRV_FCA_3_GPIO_Port, DRV_FCA_3_Pin) == GPIO_PIN_SET);
		stopMotor();
	} else {
//-----Move device FORWARD till get to FC1
		do {
			BSP_MotorControl_Run(MOTOR_ID, FORWARD);
			HAL_Delay(T_FC);
		} while (HAL_GPIO_ReadPin(DRV_FCA_3_GPIO_Port, DRV_FCA_3_Pin)== GPIO_PIN_RESET);
//-----Move device BACKWARD till get far from FC1
		do {
			BSP_MotorControl_Run(MOTOR_ID, BACKWARD);
			HAL_Delay(T_FC);
		} while (HAL_GPIO_ReadPin(DRV_FCA_3_GPIO_Port, DRV_FCA_3_Pin)
				== GPIO_PIN_SET);
	}
	if(AJUSTE_INICIAL>=0)
	{
		BSP_MotorControl_Move(MOTOR_ID, BACKWARD, STEP_1MM *AJUSTE_INICIAL);
	}else
	{
		BSP_MotorControl_Move(MOTOR_ID, FORWARD, STEP_1MM *-AJUSTE_INICIAL);
	}
	BSP_MotorControl_WaitWhileActive(MOTOR_ID);
	if(AJUSTE_INICIAL_M3>=0) {
		BSP_MotorControl_Move(MOTOR_ID, BACKWARD, STEP_1MM *AJUSTE_INICIAL_M3);
	}else {
		BSP_MotorControl_Move(MOTOR_ID, FORWARD, STEP_1MM *-AJUSTE_INICIAL_M3);
	}
	BSP_MotorControl_WaitWhileActive(MOTOR_ID);
	stopMotor();
	/* Get current position */
	pos = BSP_MotorControl_GetPosition(MOTOR_ID);

	/* Set the current position to be the Home position */
	BSP_MotorControl_SetHome(MOTOR_ID, pos);

	HAL_Delay(T_STOP);

	if(CALIB)
	{
	//-----Move device BACKWARD till found FC2 and mark the position
		BSP_MotorControl_Move(MOTOR_ID, BACKWARD, 7889 * 45/AJUSTE_REL_PASOS);
		BSP_MotorControl_WaitWhileActive(MOTOR_ID);
		do {
			BSP_MotorControl_Run(MOTOR_ID, BACKWARD);
			HAL_Delay(T_FC);
		} while (HAL_GPIO_ReadPin(DRV_FCB_3_GPIO_Port, DRV_FCB_3_Pin) == GPIO_PIN_RESET);

		stopMotor();

		/* Get current position */
		pos = BSP_MotorControl_GetPosition(MOTOR_ID);

		/* Set the current position to be the Home position */
		BSP_MotorControl_SetMark(MOTOR_ID, pos);

	//----- Go Home
		/* Request to go to Home */
		BSP_MotorControl_GoHome(MOTOR_ID);
		BSP_MotorControl_WaitWhileActive(MOTOR_ID);
		/* Get current position */
		pos = BSP_MotorControl_GetPosition(MOTOR_ID);
		stopMotor();
	}
}

void calib_motor4(void) {
	int32_t pos;

	EnableMotors(4);
////-------------------------------------------------------------------------------------------------
	//-----Set Home position according FC1
	if (HAL_GPIO_ReadPin(DRV_FCA_4_GPIO_Port, DRV_FCA_4_Pin) == GPIO_PIN_SET) {
//-----Move device BACKWARD till get far from FC1
		do {
			BSP_MotorControl_Run(MOTOR_ID, BACKWARD);
			HAL_Delay(T_FC);
		} while (HAL_GPIO_ReadPin(DRV_FCA_4_GPIO_Port, DRV_FCA_4_Pin) == GPIO_PIN_SET);

		stopMotor();

	} else {
//-----Move device FORWARD till get to FC1
		do {
			BSP_MotorControl_Run(MOTOR_ID, FORWARD);
			HAL_Delay(T_FC);
		} while (HAL_GPIO_ReadPin(DRV_FCA_4_GPIO_Port, DRV_FCA_4_Pin)== GPIO_PIN_RESET);

//-----Move device BACKWARD till get far from FC1
		do {
			BSP_MotorControl_Run(MOTOR_ID, BACKWARD);
			HAL_Delay(T_FC);
		} while (HAL_GPIO_ReadPin(DRV_FCA_4_GPIO_Port, DRV_FCA_4_Pin)
				== GPIO_PIN_SET);
	}
	if(AJUSTE_INICIAL>=0)
	{
		BSP_MotorControl_Move(MOTOR_ID, BACKWARD, STEP_1MM *AJUSTE_INICIAL);
	}else
	{
		BSP_MotorControl_Move(MOTOR_ID, FORWARD, STEP_1MM *-AJUSTE_INICIAL);
	}
	BSP_MotorControl_WaitWhileActive(MOTOR_ID);
	if(AJUSTE_INICIAL_M4>=0) {
		BSP_MotorControl_Move(MOTOR_ID, BACKWARD, STEP_1MM *AJUSTE_INICIAL_M4);
	}else {
		BSP_MotorControl_Move(MOTOR_ID, FORWARD, STEP_1MM *-AJUSTE_INICIAL_M4);
	}
	BSP_MotorControl_WaitWhileActive(MOTOR_ID);
	stopMotor();

	/* Get current position */
	pos = BSP_MotorControl_GetPosition(MOTOR_ID);

	/* Set the current position to be the Home position */
	BSP_MotorControl_SetHome(MOTOR_ID, pos);

	HAL_Delay(T_STOP);
	if(CALIB)
	{
	//-----Move device BACKWARD till found FC2 and mark the position
		BSP_MotorControl_Move(MOTOR_ID, BACKWARD, 7889 * 45/AJUSTE_REL_PASOS);
		BSP_MotorControl_WaitWhileActive(MOTOR_ID);
		do {
			BSP_MotorControl_Run(MOTOR_ID, BACKWARD);
			HAL_Delay(T_FC);
		} while (HAL_GPIO_ReadPin(DRV_FCB_4_GPIO_Port, DRV_FCB_4_Pin) == GPIO_PIN_RESET);

		stopMotor();
		/* Get current position */
		pos = BSP_MotorControl_GetPosition(MOTOR_ID);

		/* Set the current position to be the Home position */
		BSP_MotorControl_SetMark(MOTOR_ID, pos);

	//----- Go Home
		/* Request to go to Home */
		BSP_MotorControl_GoHome(MOTOR_ID);
		BSP_MotorControl_WaitWhileActive(MOTOR_ID);
		/* Get current position */
		pos = BSP_MotorControl_GetPosition(MOTOR_ID);
		stopMotor();
	}
}

void calib_motor5(void) {
	int32_t pos;

	EnableMotors(5);
////-------------------------------------------------------------------------------------------------
	//-----Set Home position according FC1
	if (HAL_GPIO_ReadPin(DRV_FCA_5_GPIO_Port, DRV_FCA_5_Pin) == GPIO_PIN_SET) {
//-----Move device BACKWARD till get far from FC1
		do {
			BSP_MotorControl_Run(MOTOR_ID, BACKWARD);
			HAL_Delay(T_FC);
		} while (HAL_GPIO_ReadPin(DRV_FCA_5_GPIO_Port, DRV_FCA_5_Pin) == GPIO_PIN_SET);

		stopMotor();

	} else {
//-----Move device FORWARD till get to FC1
		do {
			BSP_MotorControl_Run(MOTOR_ID, FORWARD);
			HAL_Delay(T_FC);
		} while (HAL_GPIO_ReadPin(DRV_FCA_5_GPIO_Port, DRV_FCA_5_Pin)== GPIO_PIN_RESET);

//-----Move device BACKWARD till get far from FC1
		do {
			BSP_MotorControl_Run(MOTOR_ID, BACKWARD);
			HAL_Delay(T_FC);
		} while (HAL_GPIO_ReadPin(DRV_FCA_5_GPIO_Port, DRV_FCA_5_Pin)
				== GPIO_PIN_SET);
	}
	if(AJUSTE_INICIAL>=0)
	{
		BSP_MotorControl_Move(MOTOR_ID, BACKWARD, STEP_1MM *AJUSTE_INICIAL);
	}else
	{
		BSP_MotorControl_Move(MOTOR_ID, FORWARD, STEP_1MM *-AJUSTE_INICIAL);
	}
	BSP_MotorControl_WaitWhileActive(MOTOR_ID);
	if(AJUSTE_INICIAL_M5>=0) {
		BSP_MotorControl_Move(MOTOR_ID, BACKWARD, STEP_1MM *AJUSTE_INICIAL_M5);
	}else {
		BSP_MotorControl_Move(MOTOR_ID, FORWARD, STEP_1MM *-AJUSTE_INICIAL_M5);
	}
	BSP_MotorControl_WaitWhileActive(MOTOR_ID);
	stopMotor();
	/* Get current position */
	pos = BSP_MotorControl_GetPosition(MOTOR_ID);
	/* Set the current position to be the Home position */
	BSP_MotorControl_SetHome(MOTOR_ID, pos);

	HAL_Delay(T_STOP);
	if(CALIB)
	{
	//-----Move device BACKWARD till found FC2 and mark the position
		BSP_MotorControl_Move(MOTOR_ID, BACKWARD, 7889 * 45/AJUSTE_REL_PASOS);
		BSP_MotorControl_WaitWhileActive(MOTOR_ID);
		do {
			BSP_MotorControl_Run(MOTOR_ID, BACKWARD);
			HAL_Delay(T_FC);
		} while (HAL_GPIO_ReadPin(DRV_FCB_5_GPIO_Port, DRV_FCB_5_Pin) == GPIO_PIN_RESET);

		stopMotor();
		/* Get current position */
		pos = BSP_MotorControl_GetPosition(MOTOR_ID);
		/* Set the current position to be the Home position */
		BSP_MotorControl_SetMark(MOTOR_ID, pos);
	//----- Go Home
		/* Request to go to Home */
		BSP_MotorControl_GoHome(MOTOR_ID);
		BSP_MotorControl_WaitWhileActive(MOTOR_ID);
		/* Get current position */
		pos = BSP_MotorControl_GetPosition(MOTOR_ID);
		stopMotor();
	}
}

void calib_motor6(void) {
	int32_t pos;

	EnableMotors(6);
////-------------------------------------------------------------------------------------------------
	//-----Set Home position according FC1
	if (HAL_GPIO_ReadPin(DRV_FCA_6_GPIO_Port, DRV_FCA_6_Pin) == GPIO_PIN_SET) {
//-----Move device BACKWARD till get far from FC1
		do {
			BSP_MotorControl_Run(MOTOR_ID, BACKWARD);
			HAL_Delay(T_FC);
		} while (HAL_GPIO_ReadPin(DRV_FCA_6_GPIO_Port, DRV_FCA_6_Pin) == GPIO_PIN_SET);

		stopMotor();

	} else {
//-----Move device FORWARD till get to FC1
		do {
			BSP_MotorControl_Run(MOTOR_ID, FORWARD);
			HAL_Delay(T_FC);
		} while (HAL_GPIO_ReadPin(DRV_FCA_6_GPIO_Port, DRV_FCA_6_Pin)== GPIO_PIN_RESET);

//-----Move device BACKWARD till get far from FC1
		do {
			BSP_MotorControl_Run(MOTOR_ID, BACKWARD);
			HAL_Delay(T_FC);
		} while (HAL_GPIO_ReadPin(DRV_FCA_6_GPIO_Port, DRV_FCA_6_Pin) == GPIO_PIN_SET);
	}
	if(AJUSTE_INICIAL>=0) {
		BSP_MotorControl_Move(MOTOR_ID, BACKWARD, STEP_1MM *AJUSTE_INICIAL);
	}else {
		BSP_MotorControl_Move(MOTOR_ID, FORWARD, STEP_1MM *-AJUSTE_INICIAL);
	}
	BSP_MotorControl_WaitWhileActive(MOTOR_ID);
	if(AJUSTE_INICIAL_M5>=0) {
		BSP_MotorControl_Move(MOTOR_ID, BACKWARD, STEP_1MM *AJUSTE_INICIAL_M6);
	}else {
		BSP_MotorControl_Move(MOTOR_ID, FORWARD, STEP_1MM *-AJUSTE_INICIAL_M6);
	}
	stopMotor();
	/* Get current position */
	pos = BSP_MotorControl_GetPosition(MOTOR_ID);
	/* Set the current position to be the Home position */
	BSP_MotorControl_SetHome(MOTOR_ID, pos);

	if(CALIB)
	{
	//-----Move device BACKWARD till found FC2 and mark the position
		BSP_MotorControl_Move(MOTOR_ID, BACKWARD, 7889 * 45/AJUSTE_REL_PASOS);
		BSP_MotorControl_WaitWhileActive(MOTOR_ID);
		do {
			BSP_MotorControl_Run(MOTOR_ID, BACKWARD);
			HAL_Delay(T_FC);
		} while (HAL_GPIO_ReadPin(DRV_FCB_6_GPIO_Port, DRV_FCB_6_Pin) == GPIO_PIN_RESET);

		stopMotor();
		/* Get current position */
		pos = BSP_MotorControl_GetPosition(MOTOR_ID);
		/* Set the current position to be the Home position */
		BSP_MotorControl_SetMark(MOTOR_ID, pos);
		//----- Go Home
		/* Request to go to Home */
		BSP_MotorControl_GoHome(MOTOR_ID);
		BSP_MotorControl_WaitWhileActive(MOTOR_ID);
		stopMotor();
	}
}

void stopMotor(void){
	/* Request soft stop */
	BSP_MotorControl_SoftStop(MOTOR_ID);
	/* Disable the power bridges */
	BSP_MotorControl_CmdDisable(MOTOR_ID);
	/* Wait for 0.5 second */
	HAL_Delay(T_STOP);
	/* Turn off power bridges when motor is stopped */
	BSP_MotorControl_SetStopMode(MOTOR_ID, HIZ_MODE);
}

void sensorsTest(void){
	int i;
	static VL53L1_RangingMeasurementData_t RangingData;
	int status;
	uint8_t buff[50];

	for (i=0;i<5;i++){
//			HAL_UART_Transmit(&huart5, &i, sizeof(i), 50);
		status = VL53L1_StartMeasurement(&stdistancia.VL53L1_DEV[i]);
		status = VL53L1_WaitMeasurementDataReady(&stdistancia.VL53L1_DEV[i]);
		if(!status)
		{
			status = VL53L1_GetRangingMeasurementData(&stdistancia.VL53L1_DEV[i], &RangingData);
			if(status==0){
//					HAL_UART_Transmit(&huart5, &i, sizeof(i), 50);
				sprintf( (char*)buff, "S%d, %d, %d, %.2f, %.2f\n\r",i , RangingData.RangeStatus, RangingData.RangeMilliMeter,
							   ( RangingData.SignalRateRtnMegaCps / 65536.0 ), RangingData.AmbientRateRtnMegaCps / 65336.0 );
				HAL_UART_Transmit( &huart5, buff, strlen( (char*)buff ), 0xFFFF );
			}
			status = VL53L1_ClearInterruptAndStartMeasurement(&stdistancia.VL53L1_DEV[i]);
		}
//			HAL_Delay(3000);
	}
	HAL_UART_Transmit(&huart5, (uint8_t*)"\n", strlen("\n"), 20);
//	BSP_MotorControl_Move(MOTOR_ID, BACKWARD, STEP_1MM *60);
//	BSP_MotorControl_WaitWhileActive(MOTOR_ID);
//
//	BSP_MotorControl_Move(MOTOR_ID, FORWARD, STEP_1MM *60);
////	BSP_MotorControl_Move(MOTOR_ID, FORWARD, STEP_1MM *3);
//	BSP_MotorControl_WaitWhileActive(MOTOR_ID);
//	/* Request soft stop */
//	BSP_MotorControl_SoftStop(MOTOR_ID);
//
//	/* Disable the power bridges */
//	BSP_MotorControl_CmdDisable(MOTOR_ID);
//
//	/* Wait for 0.5 second */
//	HAL_Delay(T_STOP);
//
//	/* Turn off power bridges when motor is stopped */
//	BSP_MotorControl_SetStopMode(MOTOR_ID, HIZ_MODE);
}

/**
 * @brief  This function is the User handler for the flag interrupt
 * @param  None
 * @retval None
 */
void MyFlagInterruptHandler(void) {
	//When EN pin is forced low by a failure, configure the GPIO as an ouput low
	BSP_MotorControl_CmdDisable(0);
}

/**
 * @brief  This function is executed in case of error occurrence.
 * @param  error number of the error
 * @retval None
 */
void MyErrorHandler(uint16_t error) {
	/* Backup error number */
	gLastError = error;

	/* Infinite loop */
	while (1) {
	}
}

/**
 * @brief  This function is executed in case of button press and it changes the
 * current direction of the motor
 * @param  None
 * @retval None
 */
void ButtonHandler(void) {
	if (BSP_MotorControl_GetDirection(0) != BACKWARD) {
		BSP_MotorControl_SetDirection(0, BACKWARD);
	} else {
		BSP_MotorControl_SetDirection(0, FORWARD);
	}
	/* Let 200 ms before clearing the IT for key debouncing */
	HAL_Delay(200);
//	__HAL_GPIO_EXTI_CLEAR_IT(KEY_BUTTON_PIN);
//	HAL_NVIC_ClearPendingIRQ(KEY_BUTTON_EXTI_IRQn);
}

/* USER CODE END 4 */

void Error_Handler(void)
{
}

/************************ (C) COPYRIGHT STMicroelectronics *****END OF FILE****/
